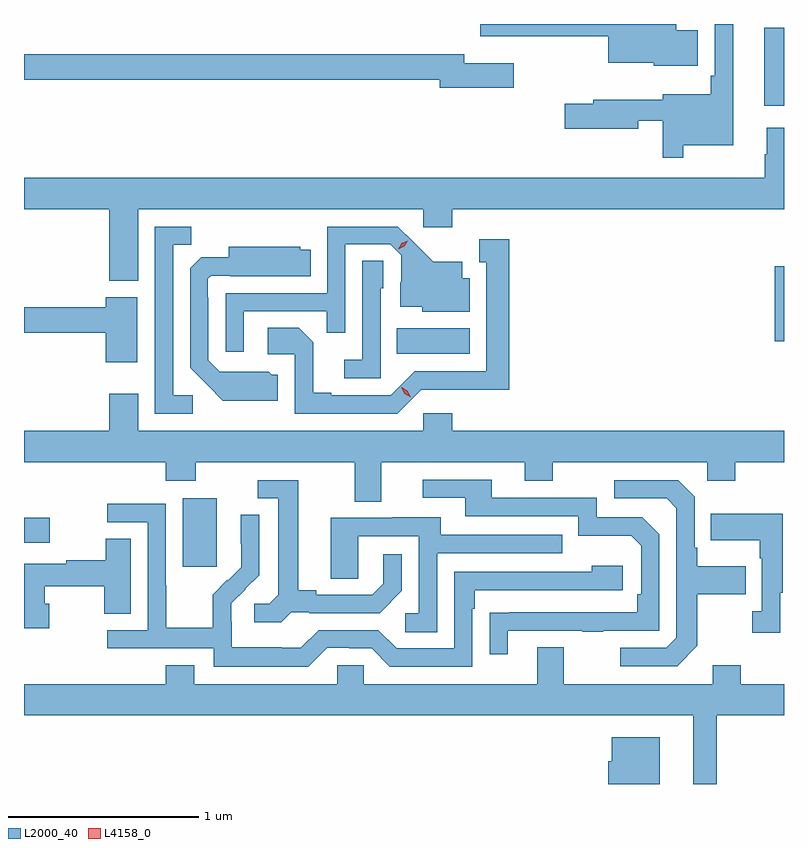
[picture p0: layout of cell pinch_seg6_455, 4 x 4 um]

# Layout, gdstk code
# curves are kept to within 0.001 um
import gdstk
lib = gdstk.Library(unit=1e-6, precision=1e-09)
def R(c, l, rs):  # rectangles x0, y0, x1, y1
    for r in rs: c.add(gdstk.rectangle(r[:2], r[2:], *l))
def P(c, l, *ps):  # polygons
    for p in ps: c.add(gdstk.Polygon(p, *l))
L2000_40 = (2000, 40)
L4158_0 = (4158, 0)

pinch_seg6_455 = lib.new_cell('pinch_seg6_455')
R(pinch_seg6_455, L2000_40, [(730.091,922.809,730.27,923.17), (729.256,922.937,729.391,923.067), (731.218,923.93,731.602,924.064), (733.208,923.997,733.256,924.391), (733.151,925.235,733.256,925.645)])
P(pinch_seg6_455, L2000_40, [(732.802,925.633),(732.688,925.633),(732.688,925.666),(731.658,925.666),(731.658,925.601),(731.92,925.601),(731.92,925.602),(732.332,925.602),(732.332,925.463),(732.57,925.463),(732.57,925.445),(732.802,925.445)],
  [(732.727,925.028),(732.988,925.028),(732.988,925.666),(732.891,925.666),(732.891,925.393),(732.871,925.393),(732.871,925.297),(732.617,925.297),(732.617,925.268),(732.251,925.268),(732.251,925.245),(732.102,925.245),(732.102,925.115),(732.49,925.115),(732.49,925.158),(732.618,925.158),(732.618,924.963),(732.727,924.963)],
  [(731.833,925.459),(731.572,925.459),(731.572,925.508),(729.256,925.508),(729.256,925.372),(731.444,925.372),(731.444,925.33),(731.833,925.33)],
  [(729.856,924.692),(731.358,924.692),(731.358,924.597),(731.51,924.597),(731.51,924.692),(733.256,924.692),(733.256,925.12),(733.166,925.12),(733.166,924.98),(733.155,924.98),(733.155,924.856),(729.256,924.856),(729.256,924.692),(729.704,924.692),(729.704,924.314),(729.856,924.314)],
  [(730.144,923.712),(730.041,923.712),(730.041,924.505),(730.137,924.505),(730.137,924.6),(729.945,924.6),(729.945,923.616),(730.144,923.616)],
  [(730.413,924.153),(730.849,924.153),(730.849,924.04),(730.947,924.04),(730.947,924.507),(731.184,924.507),(731.241,924.45),(731.241,924.308),(731.237,924.308),(731.237,924.179),(731.352,924.179),(731.352,924.152),(731.602,924.152),(731.602,924.328),(731.563,924.328),(731.563,924.415),(731.411,924.415),(731.224,924.6),(730.851,924.6),(730.851,924.249),(730.317,924.249),(730.317,923.94),(730.413,923.94)],
  [(731.346,923.742),(731.809,923.741),(731.809,924.532),(731.651,924.532),(731.651,924.411),(731.69,924.411),(731.69,923.838),(731.313,923.838),(731.187,923.712),(730.873,923.712),(730.873,923.725),(730.779,923.725),(730.779,923.992),(730.703,924.068),(730.539,924.068),(730.539,923.928),(730.68,923.928),(730.68,923.616),(731.22,923.616)],
  [(730.591,923.82),(730.56,923.82),(730.544,923.836),(730.287,923.835),(730.227,923.895),(730.227,924.224),(730.224,924.224),(730.224,924.324),(730.242,924.342),(730.342,924.342),(730.342,924.338),(730.766,924.338),(730.766,924.478),(730.71,924.478),(730.71,924.493),(730.334,924.493),(730.334,924.439),(730.19,924.439),(730.131,924.38),(730.131,923.858),(730.303,923.684),(730.591,923.684)],
  [(731.133,924.276),(731.148,924.276),(731.148,924.419),(731.037,924.419),(731.037,923.899),(730.941,923.899),(730.941,923.802),(731.133,923.802)],
  [(729.853,924.229),(729.686,924.229),(729.686,924.176),(729.256,924.176),(729.256,924.04),(729.686,924.04),(729.686,923.886),(729.853,923.886)],
  [(731.137,923.36),(731.891,923.36),(731.891,923.261),(732.039,923.261),(732.039,923.36),(732.852,923.36),(732.852,923.261),(732.999,923.261),(732.999,923.36),(733.256,923.36),(733.256,923.524),(731.51,923.524),(731.51,923.617),(731.358,923.617),(731.358,923.524),(729.856,923.524),(729.856,923.719),(729.704,923.719),(729.704,923.524),(729.256,923.524),(729.256,923.36),(730.001,923.36),(730.001,923.261),(730.161,923.261),(730.161,923.36),(730.997,923.36),(730.997,923.152),(731.137,923.152)],
  [(731.803,922.473),(732.193,922.473),(732.193,922.468),(732.305,922.468),(732.305,922.473),(732.6,922.473),(732.6,922.98),(732.51,923.07),(732.27,923.07),(732.27,923.172),(731.719,923.172),(731.719,923.268),(731.355,923.268),(731.355,923.172),(731.579,923.172),(731.579,923.076),(732.174,923.076),(732.174,922.973),(732.451,922.973),(732.504,922.92),(732.504,922.666),(732.484,922.666),(732.484,922.569),(731.707,922.568),(731.707,922.35),(731.803,922.35)],
  [(730.662,922.569),(730.756,922.569),(730.756,922.566),(731.128,922.566),(731.244,922.682),(731.244,922.876),(731.147,922.876),(731.147,922.719),(731.09,922.662),(730.795,922.662),(730.795,922.685),(730.699,922.685),(730.699,923.265),(730.485,923.265),(730.485,923.169),(730.595,923.169),(730.595,922.661),(730.548,922.614),(730.467,922.614),(730.467,922.517),(730.61,922.517)],
  [(732.799,922.393),(732.799,922.666),(733.055,922.666),(733.055,922.813),(732.799,922.813),(732.799,922.909),(732.786,922.909),(732.786,923.178),(732.699,923.265),(732.363,923.265),(732.363,923.169),(732.639,923.169),(732.69,923.118),(732.69,922.437),(732.636,922.383),(732.393,922.383),(732.393,922.287),(732.693,922.287)],
  [(730.851,922.383),(730.967,922.383),(730.967,922.38),(731.085,922.38),(731.181,922.284),(731.616,922.284),(731.616,922.589),(731.629,922.589),(731.629,922.686),(732.406,922.686),(732.406,922.816),(732.245,922.816),(732.245,922.782),(731.52,922.782),(731.52,922.38),(731.217,922.38),(731.121,922.476),(730.806,922.476),(730.713,922.383),(730.613,922.383),(730.613,922.387),(730.35,922.387),(730.35,922.521),(730.348,922.521),(730.348,922.618),(730.494,922.766),(730.494,923.084),(730.398,923.084),(730.398,922.93),(730.4,922.93),(730.4,922.808),(730.329,922.737),(730.326,922.74),(730.249,922.663),(730.249,922.489),(730.005,922.489),(730.005,922.712),(730.002,922.712),(730.002,923.142),(729.693,923.142),(729.693,923.043),(729.906,923.043),(729.906,922.476),(729.693,922.476),(729.693,922.38),(730.254,922.38),(730.254,922.283),(730.751,922.283)],
  [(733.237,922.673),(733.249,922.673),(733.249,923.089),(732.871,923.089),(732.871,922.949),(733.128,922.949),(733.128,922.853),(733.14,922.853),(733.14,922.574),(733.089,922.574),(733.089,922.461),(733.237,922.461)],
  [(731.43,922.881),(732.089,922.881),(732.089,922.977),(731.449,922.977),(731.449,923.071),(731.195,923.071),(731.195,923.067),(730.871,923.067),(730.871,922.747),(731.016,922.747),(731.016,922.971),(731.334,922.971),(731.334,922.566),(731.262,922.566),(731.262,922.465),(731.43,922.465)],
  [(729.39,922.615),(729.364,922.615),(729.364,922.708),(729.679,922.708),(729.679,922.561),(729.817,922.561),(729.817,922.958),(729.686,922.958),(729.686,922.844),(729.478,922.844),(729.478,922.824),(729.256,922.824),(729.256,922.486),(729.39,922.486)],
  [(732.901,922.028),(733.256,922.028),(733.256,922.192),(733.029,922.192),(733.029,922.291),(732.881,922.291),(732.881,922.192),(732.097,922.192),(732.097,922.387),(731.957,922.387),(731.957,922.192),(731.043,922.192),(731.043,922.29),(730.905,922.29),(730.905,922.192),(730.153,922.192),(730.153,922.291),(730.001,922.291),(730.001,922.192),(729.256,922.192),(729.256,922.028),(732.779,922.028),(732.779,921.666),(732.901,921.666)],
  [(732.601,921.913),(732.35,921.913),(732.35,921.786),(732.332,921.786),(732.332,921.666),(732.601,921.666)])
P(pinch_seg6_455, L4158_0, [(731.226,924.481),(731.226,924.481),(731.244,924.511),(731.275,924.526),(731.275,924.526),(731.275,924.526),(731.257,924.496),(731.226,924.481)],
  [(731.292,923.702),(731.26,923.721),(731.242,923.754),(731.242,923.754),(731.243,923.754),(731.274,923.735),(731.292,923.702),(731.292,923.702)])

lib.write_gds('pinch_seg6_455.gds')
